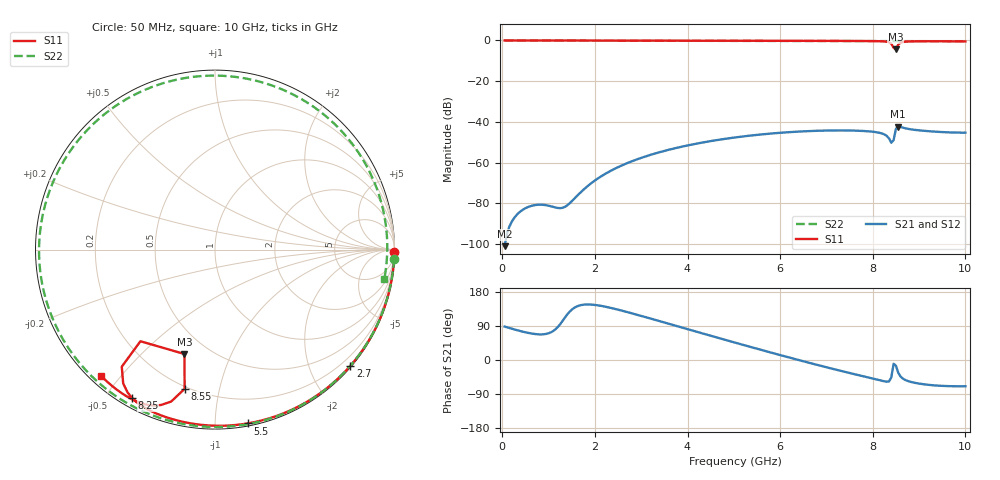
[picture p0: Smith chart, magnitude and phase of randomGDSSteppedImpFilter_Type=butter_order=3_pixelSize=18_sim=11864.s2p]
! freq	dB(S11)	phase(S11)	dB(S12)	phase(S12)
!  dB(S21)	phase(S21)	dB(S22)	phase(S22)
!S-par simulation data
#  GHz  S  DB  R 50
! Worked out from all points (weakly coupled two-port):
!   200 points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, 50 MHz to 10 GHz, reference 50 ohm
!   highest |S21| = -42.30 dB at 8.55 GHz (marker M1); lowest = -101.1 dB at 50 MHz (marker M2)
!   lowest |S11| = -4.3 dB at 8.5 GHz (marker M3), VSWR 4.08, Z = 18.5 - j34.1 ohm
!   |S11| at or under -10 dB: nowhere
!   |S22| runs from -0.4 to 0.0 dB; largest |S21 - S12| = 0
!   S11 on the Smith chart (normalised r, x): 50 MHz: open; 2.7 GHz: 0.03, -2.70; 5.5 GHz: 0.02, -1.20; 8.25 GHz: 0.04, -0.58; 8.55 GHz: 0.19, -0.79; 10 GHz: 0.03, -0.44
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0.05  -0.00 -0.8  -101.08 88.2  -101.08 88.2  -0.00 -3.0
0.4  -0.01 -6.2  -83.86 76.1  -83.86 76.1  -0.03 -23.6
0.8  -0.02 -12.3  -80.70 67.6  -80.70 67.6  -0.06 -46.3
1.45  -0.03 -22.1  -80.12 127.0  -80.12 127.0  -0.09 -80.3
1.75  -0.03 -26.6  -73.39 145.9  -73.39 145.9  -0.10 -94.6
2.15  -0.04 -32.6  -66.54 142.5  -66.54 142.5  -0.12 -112.2
2.7  -0.05 -40.6  -60.25 126.4  -60.25 126.4  -0.13 -134.2
3.4  -0.07 -50.7  -54.88 102.4  -54.88 102.4  -0.15 -159.3
4.2  -0.09 -61.9  -50.67 74.4  -50.67 74.4  -0.18 174.4
5.05  -0.11 -73.4  -47.59 45.0  -47.59 45.0  -0.21 148.0
5.5  -0.13 -79.4  -46.39 29.7  -46.39 29.7  -0.23 134.2
6.7  -0.18 -95.0  -44.46 -9.8  -44.46 -9.8  -0.26 96.9
7.45  -0.23 -104.8  -44.22 -32.9  -44.22 -32.9  -0.28 72.9
8.25  -0.48 -119.3  -46.17 -56.2  -46.17 -56.2  -0.30 46.8
8.35  -0.87 -124.4  -48.11 -56.5  -48.11 -56.5  -0.30 43.6
8.4  -1.58 -128.5  -50.26 -46.1  -50.26 -46.1  -0.30 41.9
8.45  -3.63 -129.1  -48.96 -9.9  -48.96 -9.9  -0.30 40.3
8.5  -4.35 -106.3  -43.43 -15.0  -43.43 -15.0  -0.31 38.6
8.55  -2.00 -102.3  -42.30 -33.6  -42.30 -33.6  -0.31 37.0
8.65  -0.76 -109.1  -42.86 -49.1  -42.86 -49.1  -0.31 33.7
8.9  -0.43 -116.7  -43.91 -60.1  -43.91 -60.1  -0.32 25.5
10  -0.47 -132.1  -45.29 -69.2  -45.29 -69.2  -0.38 -9.9
